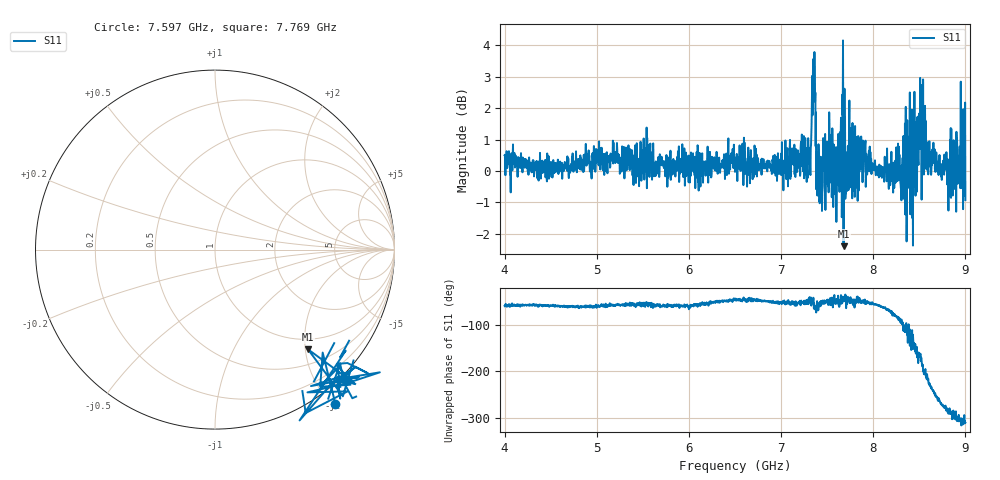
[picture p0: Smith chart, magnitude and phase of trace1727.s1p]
! Created with skrf 1.8.0 (http://scikit-rf.org).
# Hz S RI R 50.0
!freq ReS11 ImS11
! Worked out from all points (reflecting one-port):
!   1601 points, 4 GHz to 9 GHz, reference 50 ohm
!   lowest |S11| = -2.4 dB at 7.678 GHz (marker M1), VSWR 7.31, Z = 39.1 - j103 ohm
!   phase of S11 starts at -59 deg and turns -253 deg over the sweep
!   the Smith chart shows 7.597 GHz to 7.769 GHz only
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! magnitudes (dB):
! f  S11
! 4 GHz  0.5
! 4.625 GHz  -0.2
! 5.25 GHz  -0.1
! 5.875 GHz  0.3
! 6.5 GHz  0.0
! 7.125 GHz  0.6
! 7.297 GHz  0.8
! 7.353 GHz  3.4
! 7.4 GHz  0.0
! 7.419 GHz  -1.0
! 7.512 GHz  0.6
! 7.584 GHz  -0.7
! 7.647 GHz  1.1
! 7.669 GHz  1.8
! 7.678 GHz  -2.4
! 7.703 GHz  -0.7
! 7.75 GHz  0.0
! 7.784 GHz  0.2
! 7.891 GHz  0.0
! 8.316 GHz  0.0
! 8.334 GHz  0.7
! 8.375 GHz  0.1
! 8.406 GHz  0.4
! 8.522 GHz  1.4
! 8.597 GHz  -0.1
! 8.806 GHz  -0.2
! 8.972 GHz  0.8
! 9 GHz  -0.9
